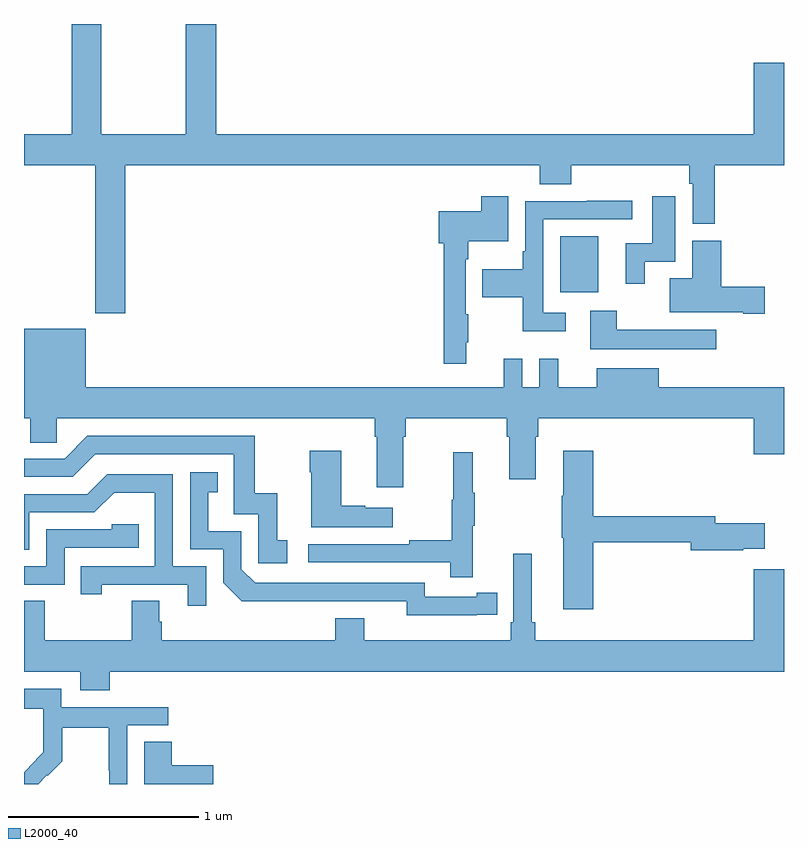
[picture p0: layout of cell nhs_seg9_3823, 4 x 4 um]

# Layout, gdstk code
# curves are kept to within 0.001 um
import gdstk
lib = gdstk.Library(unit=1e-6, precision=1e-09)
def R(c, l, rs):  # rectangles x0, y0, x1, y1
    for r in rs: c.add(gdstk.rectangle(r[:2], r[2:], *l))
def P(c, l, *ps):  # polygons
    for p in ps: c.add(gdstk.Polygon(p, *l))
L2000_40 = (2000, 40)

nhs_seg9_3823 = lib.new_cell('nhs_seg9_3823')
R(nhs_seg9_3823, L2000_40, [(331.823,1193.087,332.023,1193.383)])
P(nhs_seg9_3823, L2000_40, [(329.534,1193.756),(331.715,1193.756),(331.715,1193.657),(331.88,1193.657),(331.88,1193.756),(332.5,1193.756),(332.5,1193.66),(332.52,1193.66),(332.52,1193.448),(332.636,1193.448),(332.636,1193.756),(333,1193.756),(333,1194.295),(332.84,1194.295),(332.84,1193.92),(330.011,1193.92),(330.011,1194.5),(329.851,1194.5),(329.851,1193.92),(329.406,1193.92),(329.406,1194.5),(329.251,1194.5),(329.251,1193.92),(329,1193.92),(329,1193.756),(329.374,1193.756),(329.374,1192.977),(329.534,1192.977)],
  [(331.328,1192.825),(331.339,1192.825),(331.339,1192.973),(331.326,1192.973),(331.326,1193.261),(331.339,1193.261),(331.339,1193.357),(331.549,1193.357),(331.549,1193.593),(331.406,1193.593),(331.406,1193.515),(331.184,1193.515),(331.184,1193.345),(331.21,1193.345),(331.21,1192.713),(331.328,1192.713)],
  [(332.266,1193.25),(332.428,1193.25),(332.428,1193.593),(332.306,1193.593),(332.306,1193.346),(332.168,1193.346),(332.168,1193.133),(332.266,1193.133)],
  [(331.852,1192.98),(331.734,1192.98),(331.734,1193.472),(332.2,1193.472),(332.2,1193.57),(331.963,1193.57),(331.963,1193.568),(331.638,1193.568),(331.638,1193.305),(331.626,1193.305),(331.626,1193.209),(331.411,1193.209),(331.411,1193.062),(331.626,1193.062),(331.626,1192.883),(331.852,1192.883)],
  [(332.899,1193.117),(332.669,1193.117),(332.669,1193.359),(332.516,1193.359),(332.516,1193.161),(332.399,1193.161),(332.399,1192.982),(332.786,1192.982),(332.786,1192.975),(332.899,1192.975)],
  [(332.644,1192.891),(332.119,1192.891),(332.119,1192.99),(331.979,1192.99),(331.979,1192.787),(332.644,1192.787)],
  [(330.997,1192.328),(331.01,1192.328),(331.01,1192.424),(331.541,1192.424),(331.541,1192.328),(331.553,1192.328),(331.553,1192.104),(331.693,1192.104),(331.693,1192.328),(331.706,1192.328),(331.706,1192.424),(332.84,1192.424),(332.84,1192.236),(333,1192.236),(333,1192.588),(332.341,1192.588),(332.341,1192.687),(332.015,1192.687),(332.015,1192.588),(331.811,1192.588),(331.811,1192.738),(331.713,1192.738),(331.713,1192.588),(331.623,1192.588),(331.623,1192.738),(331.526,1192.738),(331.526,1192.588),(329.326,1192.588),(329.326,1192.897),(329,1192.897),(329,1192.424),(329.033,1192.424),(329.033,1192.297),(329.172,1192.297),(329.172,1192.424),(330.845,1192.424),(330.845,1192.328),(330.857,1192.328),(330.857,1192.062),(330.997,1192.062)],
  [(330.385,1191.783),(330.332,1191.783),(330.332,1192.03),(330.214,1192.03),(330.214,1192.332),(329.334,1192.332),(329.214,1192.212),(329,1192.212),(329,1192.116),(329.256,1192.116),(329.376,1192.236),(330.105,1192.236),(330.105,1191.921),(330.234,1191.921),(330.234,1191.663),(330.385,1191.663)],
  [(331.997,1191.772),(332.51,1191.772),(332.51,1191.73),(332.786,1191.73),(332.786,1191.737),(332.899,1191.737),(332.899,1191.872),(332.638,1191.872),(332.638,1191.908),(331.997,1191.908),(331.997,1192.255),(331.838,1192.255),(331.838,1192.016),(331.831,1192.016),(331.831,1191.795),(331.838,1191.795),(331.838,1191.42),(331.997,1191.42)],
  [(330.94,1191.955),(330.797,1191.955),(330.797,1191.965),(330.67,1191.965),(330.67,1192.255),(330.505,1192.255),(330.505,1192.142),(330.512,1192.142),(330.512,1191.851),(330.94,1191.851)],
  [(331.361,1191.859),(331.372,1191.859),(331.372,1192.033),(331.361,1192.033),(331.361,1192.246),(331.258,1192.246),(331.258,1191.996),(331.251,1191.996),(331.251,1191.782),(331.027,1191.782),(331.027,1191.762),(330.495,1191.762),(330.495,1191.666),(331.243,1191.666),(331.243,1191.588),(331.361,1191.588)],
  [(331.382,1191.39),(331.49,1191.39),(331.49,1191.506),(331.382,1191.506),(331.382,1191.486),(331.11,1191.486),(331.11,1191.558),(330.216,1191.558),(330.144,1191.63),(330.144,1191.831),(329.971,1191.831),(329.971,1192.035),(330.02,1192.035),(330.02,1192.141),(329.874,1192.141),(329.874,1191.735),(330.048,1191.735),(330.048,1191.558),(330.146,1191.461),(331.014,1191.462),(331.014,1191.389)],
  [(329.958,1191.645),(329.784,1191.645),(329.784,1192.131),(329.438,1192.131),(329.333,1192.026),(329,1192.026),(329,1191.732),(329.028,1191.732),(329.028,1191.93),(329.37,1191.93),(329.474,1192.034),(329.688,1192.034),(329.688,1191.645),(329.299,1191.645),(329.299,1191.498),(329.41,1191.498),(329.41,1191.549),(329.861,1191.549),(329.861,1191.438),(329.958,1191.438)],
  [(329.214,1191.744),(329.603,1191.744),(329.603,1191.867),(329.463,1191.867),(329.463,1191.84),(329.118,1191.84),(329.118,1191.645),(329,1191.645),(329,1191.549),(329.214,1191.549)],
  [(333,1191.631),(332.84,1191.631),(332.84,1191.256),(331.691,1191.256),(331.691,1191.352),(331.672,1191.352),(331.672,1191.712),(331.575,1191.712),(331.575,1191.352),(331.562,1191.352),(331.562,1191.256),(330.79,1191.256),(330.79,1191.373),(330.638,1191.373),(330.638,1191.256),(329.726,1191.256),(329.726,1191.354),(329.713,1191.354),(329.713,1191.464),(329.566,1191.464),(329.566,1191.256),(329.109,1191.256),(329.109,1191.464),(329,1191.464),(329,1191.092),(329.297,1191.092),(329.297,1190.993),(329.45,1190.993),(329.45,1191.092),(333,1191.092)],
  [(329.121,1190.547),(329.124,1190.544),(329.201,1190.621),(329.201,1190.796),(329.446,1190.796),(329.446,1190.572),(329.448,1190.572),(329.448,1190.5),(329.544,1190.5),(329.544,1190.808),(329.758,1190.808),(329.758,1190.904),(329.196,1190.904),(329.196,1191.001),(329,1191.001),(329,1190.897),(329.1,1190.897),(329.1,1190.763),(329.102,1190.763),(329.102,1190.666),(329.028,1190.592),(329.029,1190.591),(329,1190.562),(329,1190.5),(329.074,1190.5)],
  [(329.995,1190.6),(329.777,1190.6),(329.777,1190.723),(329.633,1190.723),(329.633,1190.5),(329.995,1190.5)])

lib.write_gds('nhs_seg9_3823.gds')
